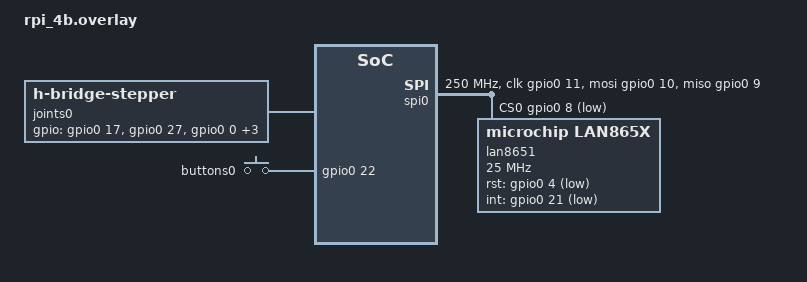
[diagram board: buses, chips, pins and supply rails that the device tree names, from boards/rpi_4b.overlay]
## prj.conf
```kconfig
# Core SPI
CONFIG_SPI=y
CONFIG_SPI_DW=y
CONFIG_SPI_DW_USE_IRQ=n
CONFIG_SPI_DW_POLLING_TIMEOUT_US=50000

# =========================
# Pin Controller
# =========================
CONFIG_PINCTRL=y
#CONFIG_PINCTRL_RP1=y
# Logging for RP1 pinctrl
CONFIG_PINCTRL_RP1_LOG_LEVEL_DBG=y

# Ensure GPIO is enabled (required for bitbang)
CONFIG_GPIO=y

# Network stack
CONFIG_NET_ARP=y
CONFIG_NET_IPV4=y
CONFIG_NET_SOCKETS=y
CONFIG_NET_CONFIG_SETTINGS=y
CONFIG_NET_CONFIG_NEED_IPV4=y

CONFIG_NET_CONFIG_MY_IPV4_ADDR="10.1.1.5"
CONFIG_NET_CONFIG_MY_IPV4_NETMASK="255.255.255.0"
CONFIG_NET_CONFIG_MY_IPV4_GW="0.0.0.0"
CONFIG_NET_CONFIG_INIT_TIMEOUT=5

CONFIG_NET_PKT_TX_COUNT=32
CONFIG_NET_PKT_RX_COUNT=32

CONFIG_NET_BUF_TX_COUNT=128
CONFIG_NET_BUF_RX_COUNT=128

CONFIG_NET_BUF_DATA_SIZE=256

CONFIG_NETWORKING=y
CONFIG_NET_L2_ETHERNET=y
CONFIG_NET_IPV4=y
CONFIG_NET_IPV6=n
CONFIG_NET_TCP=n
CONFIG_NET_UDP=y
CONFIG_NET_MGMT=y
CONFIG_NET_MGMT_EVENT=y
CONFIG_NET_MGMT_EVENT_INFO=y
CONFIG_ETHERNET_LOG_LEVEL_DBG=y

# TCP
CONFIG_NET_MAX_CONTEXTS=8
CONFIG_NET_MAX_CONN=8
CONFIG_ZVFS_POLL_MAX=4
CONFIG_ZVFS_OPEN_MAX=8

# LAN865x + MDIO
CONFIG_ETH_LAN865X=y
CONFIG_MDIO=y
CONFIG_MDIO_LAN865X=y
CONFIG_ETH_LAN865X_USE_IRQ=n
CONFIG_ETH_LAN865X_IRQ_THREAD_PRIO=10
CONFIG_ETH_LAN865X_IRQ_THREAD_STACK_SIZE=4096
CONFIG_ETH_LAN865X_POLL_INTERVAL_MS=1
CONFIG_ETH_LAN865X_BURST_CHUNKS=28

# === Console / UART ===
CONFIG_SERIAL=y
CONFIG_CONSOLE=y
CONFIG_UART_CONSOLE=y
CONFIG_UART_INTERRUPT_DRIVEN=y

# Shell
CONFIG_SHELL=y
CONFIG_SHELL_BACKEND_SERIAL=y
CONFIG_SHELL_BACKEND_SERIAL_INIT_PRIORITY=50

# printk / log
CONFIG_PRINTK=y
CONFIG_LOG=y
CONFIG_LOG_BACKEND_UART=y
CONFIG_LOG_MODE_IMMEDIATE=y
CONFIG_LOG_DEFAULT_LEVEL=4

CONFIG_PM=y
CONFIG_PM_DEVICE=y

CONFIG_PCIE=y
CONFIG_PCIE_CONTROLLER=y
CONFIG_PCIE_MSI=y
CONFIG_PCIE_MSI_X=y
CONFIG_DYNAMIC_INTERRUPTS=y
CONFIG_PCIE_MSI_MULTI_VECTOR=y
CONFIG_PCIE_LOG_LEVEL_DBG=y

CONFIG_I2C=n
CONFIG_I2C_DW=n
CONFIG_I2C_SHELL=n
CONFIG_I2C_LOG_LEVEL_DBG=n

CONFIG_GPIO_FXL6408=n

CONFIG_KERNEL_LOG_LEVEL_INF=y
CONFIG_KERNEL_LOG_LEVEL_DBG=n
```

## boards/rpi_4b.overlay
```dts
#include <zephyr/dt-bindings/gpio/gpio.h>

/ {
	joints0: joints0 {
		compatible = "zephyr,h-bridge-stepper";

		gpios = <&gpio0 17 GPIO_ACTIVE_HIGH>,
				<&gpio0 27 GPIO_ACTIVE_HIGH>,
				<&gpio0 0 GPIO_ACTIVE_HIGH>,
				<&gpio0 5 GPIO_ACTIVE_HIGH>,
				<&gpio0 13 GPIO_ACTIVE_HIGH>,
				<&gpio0 19 GPIO_ACTIVE_HIGH>;
	};

	buttons: buttons {
		compatible = "gpio-keys";

		buttons0: buttons0 {
			gpios = <&gpio0 22 GPIO_ACTIVE_HIGH>,
					<&gpio0 6 GPIO_ACTIVE_HIGH>,
					<&gpio0 26 GPIO_ACTIVE_HIGH>;
		};
	};

	aliases {
		joints0 = &joints0;
		buttons0 = &buttons0;
	};
};

&gpio0 {
	status = "okay";
};

&{/soc} {
	spi0: spi@fe204000 {
		compatible = "brcm,bcm2711-spi";
		reg = <0xfe204000 0x18>;
		status = "okay";

		clock-frequency = <250000000>;

		#address-cells = <1>;
		#size-cells = <0>;

		clk-gpios = <&gpio0 11 GPIO_ACTIVE_HIGH>;
		mosi-gpios = <&gpio0 10 GPIO_ACTIVE_HIGH>;
		miso-gpios = <&gpio0 9 GPIO_ACTIVE_HIGH>;
		cs-gpios = <&gpio0 8 GPIO_ACTIVE_LOW>;

		lan8651: lan865x@0 {
			compatible = "microchip,lan865x";
			reg = <0>;

			spi-max-frequency = <25000000>;

#if defined(CONFIG_ROBOTARM_SLAVE_IS_FIRST)
			local-mac-address = [aa bb cc 00 00 11];
#else
			local-mac-address = [aa bb cc 00 00 22];
#endif

			rst-gpios = <&gpio0 4 GPIO_ACTIVE_LOW>;
			int-gpios = <&gpio0 21 GPIO_ACTIVE_LOW>;

			status = "okay";

			lan865x_mdio: lan865x-mdio {
				compatible = "microchip,lan865x-mdio";
				status = "okay";
				#address-cells = <1>;
				#size-cells = <0>;

				ethernet-phy@0 {
					compatible = "microchip,t1s-phy";
					reg = <0>;

					plca-enable;
#if defined(CONFIG_ROBOTARM_SLAVE_IS_FIRST)
					plca-node-id = <1>;
#else
					plca-node-id = <2>;
#endif
					plca-node-count = <3>;
					plca-burst-count = <0>;
					plca-burst-timer = <0x80>;
					plca-to-timer = <0x20>;

					status = "okay";
				};
			};
		};
	};
};
```

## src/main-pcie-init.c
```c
#include <zephyr/kernel.h>
#include <zephyr/sys/printk.h>
#include <zephyr/drivers/pcie/pcie.h>
#include <zephyr/drivers/pcie/msi.h>
#include <zephyr/drivers/pcie/cap.h>
#include <zephyr/dt-bindings/pcie/pcie.h>

#include <stdbool.h>
#include <stdint.h>
#include <inttypes.h>

#ifndef BIT
#define BIT(n) (1UL << (n))
#endif

#define MY_PCIE_ID_VENDOR(id)   ((uint16_t)((id) & 0xFFFFu))
#define MY_PCIE_ID_DEVICE(id)   ((uint16_t)(((id) >> 16) & 0xFFFFu))

/* MSI-X capability layout */
#define MY_PCIE_MSIX_MSGCTL_OFFSET_WORD   0
#define MY_PCIE_MSIX_TABLE_OFFSET_WORD    1
#define MY_PCIE_MSIX_PBA_OFFSET_WORD      2

/* MSI-X Message Control bits */
#define MY_PCIE_MSIX_MSGCTL_TSIZE_MASK    0x07FF0000u
#define MY_PCIE_MSIX_MSGCTL_TSIZE_SHIFT   16
#define MY_PCIE_MSIX_MSGCTL_FMASK         BIT(30)
#define MY_PCIE_MSIX_MSGCTL_EN            BIT(31)

/* MSI-X Table / PBA fields */
#define MY_PCIE_MSIX_BIR_MASK             0x00000007u
#define MY_PCIE_MSIX_OFFSET_MASK          0xFFFFFFF8u

static const char *cap_name(uint8_t cap_id)
{
	switch (cap_id) {
	case PCI_CAP_ID_PM:
		return "PM";
	case PCI_CAP_ID_MSI:
		return "MSI";
	case PCI_CAP_ID_MSIX:
		return "MSI-X";
	case PCI_CAP_ID_EXP:
		return "PCIe";
	default:
		return "OTHER";
	}
}

static void dump_standard_header(pcie_bdf_t bdf)
{
	uint32_t id, cmdstat, classrev, type, intr;
	uint32_t bar;
	int i;

	id = pcie_conf_read(bdf, PCIE_CONF_ID);
	cmdstat = pcie_conf_read(bdf, PCIE_CONF_CMDSTAT);
	classrev = pcie_conf_read(bdf, PCIE_CONF_CLASSREV);
	type = pcie_conf_read(bdf, PCIE_CONF_TYPE);
	intr = pcie_conf_read(bdf, PCIE_CONF_INTR);

	printk("  ID       = 0x%08" PRIx32 "\n", id);
	printk("    vendor = 0x%04x device = 0x%04x\n",
	       MY_PCIE_ID_VENDOR(id), MY_PCIE_ID_DEVICE(id));

	printk("  CMDSTAT  = 0x%08" PRIx32 "\n", cmdstat);
	printk("    IO=%u MEM=%u MASTER=%u CAPS=%u INT_STATUS=%u\n",
	       !!(cmdstat & PCIE_CONF_CMDSTAT_IO),
	       !!(cmdstat & PCIE_CONF_CMDSTAT_MEM),
	       !!(cmdstat & PCIE_CONF_CMDSTAT_MASTER),
	       !!(cmdstat & PCIE_CONF_CMDSTAT_CAPS),
	       !!(cmdstat & PCIE_CONF_CMDSTAT_INTERRUPT));

	printk("  CLASSREV = 0x%08" PRIx32 "\n", classrev);
	printk("    class=0x%02x subclass=0x%02x progif=0x%02x rev=0x%02x\n",
	       PCIE_CONF_CLASSREV_CLASS(classrev),
	       PCIE_CONF_CLASSREV_SUBCLASS(classrev),
	       PCIE_CONF_CLASSREV_PROGIF(classrev),
	       PCIE_CONF_CLASSREV_REV(classrev));

	printk("  TYPE     = 0x%08" PRIx32 "\n", type);
	printk("    header_type=0x%x multifunction=%u bridge=%u\n",
	       PCIE_CONF_TYPE_GET(type),
	       PCIE_CONF_MULTIFUNCTION(type),
	       PCIE_CONF_TYPE_BRIDGE(type));

	printk("  INTR     = 0x%08" PRIx32 " irq=%u\n",
	       intr, PCIE_CONF_INTR_IRQ(intr));

	for (i = 0; i < 6; i++) {
		bar = pcie_conf_read(bdf, PCIE_CONF_BAR0 + i);
		printk("  BAR%d    = 0x%08" PRIx32 "\n", i, bar);
	}
}

static void dump_cap_summary(pcie_bdf_t bdf)
{
	uint32_t off_msi = pcie_get_cap(bdf, PCI_CAP_ID_MSI);
	uint32_t off_msix = pcie_get_cap(bdf, PCI_CAP_ID_MSIX);
	uint32_t off_pcie = pcie_get_cap(bdf, PCI_CAP_ID_EXP);

	printk("  Summary: MSI=%s", off_msi ? "yes" : "no");
	if (off_msi) {
		printk(" (word=%" PRIu32 " byte=0x%02" PRIx32 ")", off_msi, off_msi << 2);
	}
	printk("\n");

	printk("  Summary: MSI-X=%s", off_msix ? "yes" : "no");
	if (off_msix) {
		printk(" (word=%" PRIu32 " byte=0x%02" PRIx32 ")", off_msix, off_msix << 2);
	}
	printk("\n");

	printk("  Summary: PCIe Cap=%s", off_pcie ? "yes" : "no");
	if (off_pcie) {
		printk(" (word=%" PRIu32 " byte=0x%02" PRIx32 ")", off_pcie, off_pcie << 2);
	}
	printk("\n");

	printk("  pcie_is_msi() = %d\n", pcie_is_msi(bdf));
}

static void dump_capability_chain(pcie_bdf_t bdf)
{
	uint32_t w;
	uint32_t cap_reg;
	int guard = 0;

	w = pcie_conf_read(bdf, PCIE_CONF_CAPPTR);
	if (w == 0xFFFFFFFFu) {
		printk("  CAP: cannot read capability pointer word\n");
		return;
	}

	cap_reg = PCIE_CONF_CAPPTR_FIRST(w);

	printk("  CAP_PTR word[%u] = 0x%08" PRIx32
	       ", first_reg=%" PRIu32 " first_byte=0x%02" PRIx32 "\n",
	       PCIE_CONF_CAPPTR, w, cap_reg, cap_reg << 2);

	if (cap_reg == 0U) {
		printk("  No conventional capability list\n");
		return;
	}

	while (cap_reg != 0U && guard < 32) {
		uint32_t capw = pcie_conf_read(bdf, cap_reg);
		uint8_t cap_id;
		uint32_t next_reg;

		if (capw == 0xFFFFFFFFu) {
			printk("  CAP reg[%" PRIu32 "] read failed\n", cap_reg);
			break;
		}

		cap_id = PCIE_CONF_CAP_ID(capw);
		next_reg = PCIE_CONF_CAP_NEXT(capw);

		printk("  CAP reg[%" PRIu32 "] byte=0x%02" PRIx32
		       " val=0x%08" PRIx32 " id=0x%02x (%s)"
		       " next_reg=%" PRIu32 " next_byte=0x%02" PRIx32 "\n",
		       cap_reg, cap_reg << 2, capw, cap_id, cap_name(cap_id),
		       next_reg, next_reg << 2);

		cap_reg = next_reg;
		guard++;
	}

	if (guard >= 32) {
		printk("  Capability walk stopped by guard\n");
	}
}

static void dump_msix_capability_detail(pcie_bdf_t bdf)
{
	uint32_t msix_cap_reg;
	uint32_t msgctl_word;
	uint32_t table_word;
	uint32_t pba_word;
	uint32_t table_size;
	uint32_t table_bir;
	uint32_t table_offset;
	uint32_t pba_bir;
	uint32_t pba_offset;
	uint32_t bar[6];
	int i;

	msix_cap_reg = pcie_get_cap(bdf, PCI_CAP_ID_MSIX);

	if (msix_cap_reg == 0U) {
		printk("  MSI-X detail: not present\n");
		return;
	}

	msgctl_word = pcie_conf_read(bdf, msix_cap_reg + MY_PCIE_MSIX_MSGCTL_OFFSET_WORD);
	table_word  = pcie_conf_read(bdf, msix_cap_reg + MY_PCIE_MSIX_TABLE_OFFSET_WORD);
	pba_word    = pcie_conf_read(bdf, msix_cap_reg + MY_PCIE_MSIX_PBA_OFFSET_WORD);

	if ((msgctl_word == 0xFFFFFFFFu) ||
	    (table_word == 0xFFFFFFFFu) ||
	    (pba_word == 0xFFFFFFFFu)) {
		printk("  MSI-X detail: config read failed\n");
		return;
	}

	table_size   = ((msgctl_word & MY_PCIE_MSIX_MSGCTL_TSIZE_MASK) >>
			MY_PCIE_MSIX_MSGCTL_TSIZE_SHIFT) + 1U;

	table_bir    = table_word & MY_PCIE_MSIX_BIR_MASK;
	table_offset = table_word & MY_PCIE_MSIX_OFFSET_MASK;

	pba_bir      = pba_word & MY_PCIE_MSIX_BIR_MASK;
	pba_offset   = pba_word & MY_PCIE_MSIX_OFFSET_MASK;

	printk("  MSI-X detail:\n");
	printk("    cap_reg      = %" PRIu32 " (byte=0x%02" PRIx32 ")\n",
	       msix_cap_reg, msix_cap_reg << 2);
	printk("    msgctl_word  = 0x%08" PRIx32 "\n", msgctl_word);
	printk("      enable     = %u\n", !!(msgctl_word & MY_PCIE_MSIX_MSGCTL_EN));
	printk("      func_mask  = %u\n", !!(msgctl_word & MY_PCIE_MSIX_MSGCTL_FMASK));
	printk("      table_size = %" PRIu32 "\n", table_size);

	printk("    table_word   = 0x%08" PRIx32 "\n", table_word);
	printk("      table_bir  = %" PRIu32 "\n", table_bir);
	printk("      table_off  = 0x%08" PRIx32 "\n", table_offset);

	printk("    pba_word     = 0x%08" PRIx32 "\n", pba_word);
	printk("      pba_bir    = %" PRIu32 "\n", pba_bir);
	printk("      pba_off    = 0x%08" PRIx32 "\n", pba_offset);

	for (i = 0; i < 6; i++) {
		bar[i] = pcie_conf_read(bdf, PCIE_CONF_BAR0 + i);
		printk("    BAR%d        = 0x%08" PRIx32 "\n", i, bar[i]);
	}

	if (table_bir < 6U) {
		uint32_t bar_base = bar[table_bir] & ~0xFu;

		printk("    table_addr   = BAR%" PRIu32 " + 0x%08" PRIx32
		       " => approx 0x%08" PRIx32 "\n",
		       table_bir, table_offset, bar_base + table_offset);
	}

	if (pba_bir < 6U) {
		uint32_t bar_base = bar[pba_bir] & ~0xFu;

		printk("    pba_addr     = BAR%" PRIu32 " + 0x%08" PRIx32
		       " => approx 0x%08" PRIx32 "\n",
		       pba_bir, pba_offset, bar_base + pba_offset);
	}

	printk("    estimated table bytes = %" PRIu32 "\n", table_size * 16U);
}

static bool scan_cb(pcie_bdf_t bdf, pcie_id_t id, void *cb_data)
{
	ARG_UNUSED(cb_data);

	printk("\n[PCIe] BDF %02x:%02x.%x\n",
	       PCIE_BDF_TO_BUS(bdf),
	       PCIE_BDF_TO_DEV(bdf),
	       PCIE_BDF_TO_FUNC(bdf));

	printk("  callback id: vendor=0x%04x device=0x%04x\n",
	       MY_PCIE_ID_VENDOR(id), MY_PCIE_ID_DEVICE(id));

	if (!PCIE_ID_IS_VALID(id)) {
		printk("  invalid endpoint id\n");
		return true;
	}

	dump_standard_header(bdf);
	dump_cap_summary(bdf);
	dump_capability_chain(bdf);
	dump_msix_capability_detail(bdf);

	return true;
}

void main(void)
{
	int ret;
	struct pcie_scan_opt opt = {
		.cb = scan_cb,
		.cb_data = NULL,
		.flags = PCIE_SCAN_RECURSIVE | PCIE_SCAN_CB_ALL,
	};

	printk("=== PCIe scan start ===\n");

	ret = pcie_scan(&opt);
	printk("pcie_scan() ret = %d\n", ret);
}
```
